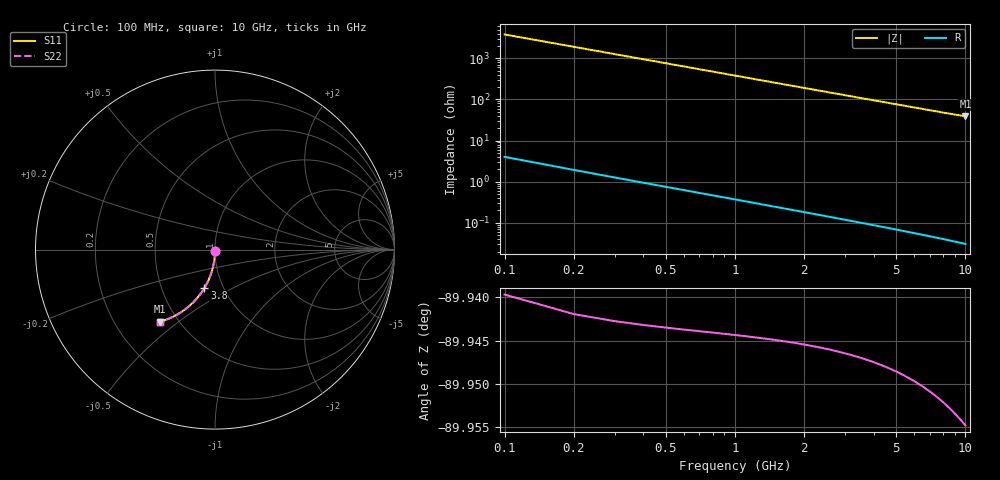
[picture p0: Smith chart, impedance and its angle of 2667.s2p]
# Hz S RI R 50.00
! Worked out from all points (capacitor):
!   100 points, 100 MHz to 10 GHz, reference 50 ohm
!   read as one part in shunt: C = 418 fF near 100 MHz
!   lowest |Z| = 38.7 ohm at 10 GHz (marker M1)
!   S11 on the Smith chart (normalised r, x): 100 MHz: 1.00, -0.01; 3.8 GHz: 0.82, -0.37; 10 GHz: 0.40, -0.43
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1e8  0.000263 -0.00597  0.9996 -0.00717  0.9996 -0.00717  0.000263 -0.00597
2e8  0.00013 -0.0119  0.9995 -0.0143  0.9995 -0.0143  0.00013 -0.0119
3e8  -8.91e-05 -0.0179  0.9993 -0.0215  0.9993 -0.0215  -8.91e-05 -0.0179
4e8  -0.000394 -0.0239  0.999 -0.0287  0.999 -0.0287  -0.000394 -0.0239
5e8  -0.000784 -0.0298  0.9986 -0.0358  0.9986 -0.0358  -0.000784 -0.0298
6e8  -0.00126 -0.0358  0.9981 -0.043  0.9981 -0.043  -0.00126 -0.0358
7e8  -0.00182 -0.0417  0.9975 -0.0501  0.9975 -0.0501  -0.00182 -0.0417
8e8  -0.00247 -0.0476  0.9968 -0.0572  0.9968 -0.0572  -0.00247 -0.0476
9e8  -0.0032 -0.0536  0.9961 -0.0643  0.9961 -0.0643  -0.0032 -0.0536
1.1e9  -0.00491 -0.0653  0.9944 -0.0785  0.9944 -0.0785  -0.00491 -0.0653
1.4e9  -0.0081 -0.0829  0.9911 -0.0997  0.9911 -0.0997  -0.0081 -0.0829
1.8e9  -0.0135 -0.106  0.9856 -0.1276  0.9856 -0.1276  -0.0135 -0.106
2.1e9  -0.0184 -0.123  0.9806 -0.1482  0.9806 -0.1482  -0.0184 -0.123
2.5e9  -0.026 -0.1452  0.9729 -0.1752  0.9729 -0.1752  -0.026 -0.1452
2.9e9  -0.0348 -0.1669  0.964 -0.2017  0.964 -0.2017  -0.0348 -0.1669
3.4e9  -0.0473 -0.193  0.9512 -0.2338  0.9512 -0.2338  -0.0473 -0.193
3.8e9  -0.0585 -0.213  0.9398 -0.2587  0.9398 -0.2587  -0.0585 -0.213
4.4e9  -0.0771 -0.2414  0.9208 -0.2944  0.9208 -0.2944  -0.0771 -0.2414
5.1e9  -0.1012 -0.2721  0.8962 -0.3335  0.8962 -0.3335  -0.1012 -0.2721
6.7e9  -0.1637 -0.3308  0.8323 -0.4118  0.8323 -0.4118  -0.1637 -0.3308
8.4e9  -0.2367 -0.3754  0.7573 -0.4773  0.7573 -0.4773  -0.2367 -0.3754
1e10  -0.307 -0.4014  0.6847 -0.5234  0.6847 -0.5234  -0.307 -0.4014
